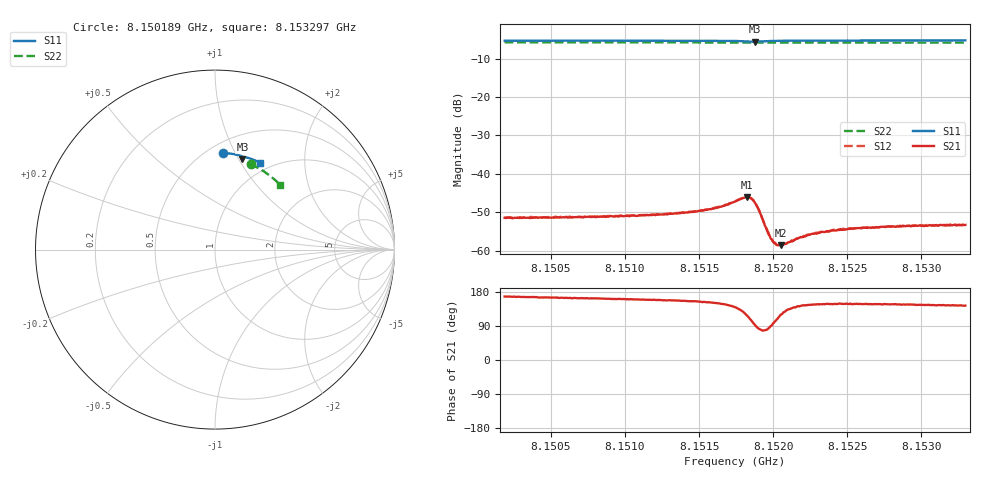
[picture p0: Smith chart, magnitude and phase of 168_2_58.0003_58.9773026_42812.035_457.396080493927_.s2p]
#  HZ  S  RI  R  50.00
! Rohde & Schwarz Vector Network Analyzer
! Rohde-Schwarz,ZNB20-2Port,1311601062101988,3.16
! Created: UTC 3/21/2024, 12:57:49 AM
! freq[Hz]  re:S11  im:S11  re:S21  im:S21  re:S12  im:S12  re:S22  im:S22
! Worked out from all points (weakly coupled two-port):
!   401 points, 8.150189 GHz to 8.153297 GHz, reference 50 ohm
!   highest |S21| = -46.07 dB at 8.15182 GHz (marker M1); lowest = -58.6 dB at 8.152054 GHz (marker M2)
!   lowest |S11| = -5.6 dB at 8.151875 GHz (marker M3), VSWR 3.21, Z = 37.3 + j51.8 ohm
!   |S11| at or under -10 dB: nowhere
!   |S22| runs from -5.8 to -5.8 dB; largest |S21 - S12| = 0.00014
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8.1501887e9  0.0447 0.5391  -0.00261 0.000583  -0.0026 0.000589  0.1984 0.4757
8.1507093e9  0.0812 0.5356  -0.00262 0.000778  -0.00262 0.000859  0.2288 0.4612
8.1512299e9  0.1179 0.5294  -0.00275 0.00109  -0.00274 0.00115  0.2581 0.4448
8.151362e9  0.1275 0.5272  -0.00283 0.00122  -0.00281 0.00129  0.2652 0.4403
8.1515408e9  0.1409 0.5234  -0.00302 0.00154  -0.00304 0.00158  0.2751 0.434
8.1516418e9  0.1489 0.5203  -0.0032 0.00192  -0.00318 0.00199  0.2804 0.4304
8.1517428e9  0.1572 0.5143  -0.0033 0.00286  -0.00332 0.00292  0.2856 0.4266
8.1518205e9  0.1596 0.5051  -0.00238 0.00437  -0.00232 0.00442  0.2895 0.4235
8.1518516e9  0.1563 0.5021  -0.00125 0.00462  -0.00119 0.00468  0.2909 0.4222
8.1518749e9  0.1529 0.5025  -0.000249 0.00427  -0.000204 0.00434  0.292 0.4214
8.151906e9  0.1506 0.506  0.000472 0.00327  0.000505 0.00329  0.2935 0.4204
8.1519526e9  0.1528 0.5116  0.00036 0.00194  0.000371 0.00196  0.296 0.4191
8.1519837e9  0.156 0.5136  1.06e-05 0.00144  3.21e-05 0.00147  0.2977 0.4179
8.1519992e9  0.1576 0.5142  -0.000144 0.00131  -8.91e-05 0.00131  0.2984 0.4174
8.1520147e9  0.1594 0.5146  -0.000282 0.00123  -0.00024 0.0012  0.2994 0.4167
8.1520381e9  0.1618 0.515  -0.000466 0.00108  -0.000457 0.00108  0.3005 0.416
8.1520536e9  0.1633 0.515  -0.000591 0.00101  -0.000548 0.001  0.3012 0.4153
8.1521935e9  0.1754 0.5135  -0.00121 0.000888  -0.0012 0.000964  0.3086 0.4097
8.1522634e9  0.1808 0.5121  -0.00138 0.000939  -0.00138 0.000934  0.3122 0.4071
8.1524576e9  0.1947 0.5078  -0.00162 0.000999  -0.0016 0.00103  0.3217 0.3992
8.152784e9  0.2168 0.4996  -0.00173 0.00114  -0.00173 0.00115  0.3374 0.3855
8.1532968e9  0.2496 0.4851  -0.00174 0.00129  -0.00175 0.00132  0.3608 0.3626
